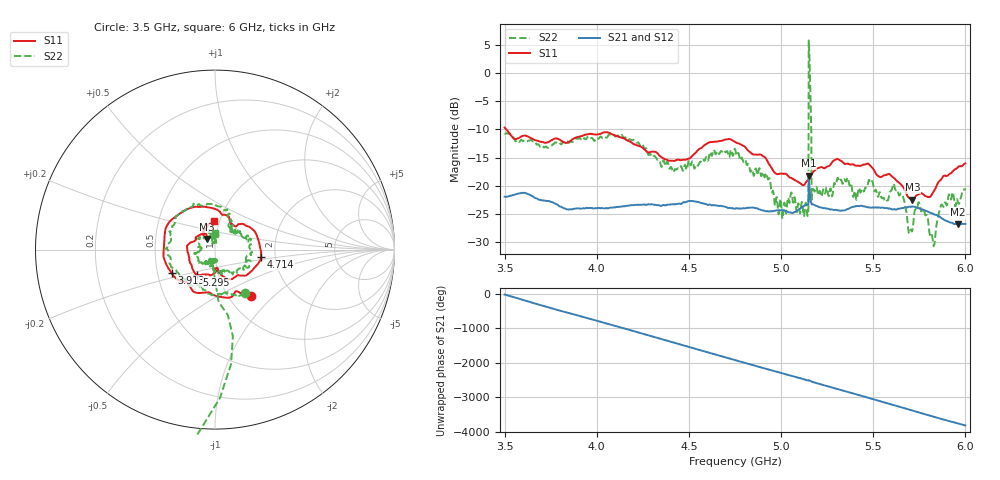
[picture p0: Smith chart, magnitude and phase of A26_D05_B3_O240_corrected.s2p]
! Created with skrf 1.9.0 (http://scikit-rf.org).
# Hz S RI R 50.0
!freq ReS11 ImS11 ReS21 ImS21 ReS12 ImS12 ReS22 ImS22
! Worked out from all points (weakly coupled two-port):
!   1601 points, 3.5 GHz to 6 GHz, reference 50 ohm
!   highest |S21| = -18.21 dB at 5.15 GHz (marker M1); lowest = -26.8 dB at 5.958 GHz (marker M2)
!   lowest |S11| = -22.4 dB at 5.713 GHz (marker M3), VSWR 1.16, Z = 45.3 + j5.45 ohm
!   |S11| at or under -10 dB: 3.51 GHz to end of sweep
!   |S22| runs from -30.7 to 5.8 dB; largest |S21 - S12| = 0.00089
!   S11 on the Smith chart (normalised r, x): 3.5 GHz: 1.26, -0.74; 3.913 GHz: 0.59, -0.17; 4.714 GHz: 1.68, -0.15; 5.295 GHz: 0.79, -0.23; 6 GHz: 0.94, +0.30
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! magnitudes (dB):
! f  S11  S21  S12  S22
! 3.5 GHz  -9.7  -21.9  -21.9  -10.7
! 3.913 GHz  -11.2  -24.0  -24.0  -11.7
! 3.917 GHz  -11.2  -24.0  -24.0  -11.9
! 4.334 GHz  -14.4  -23.4  -23.4  -15.4
! 4.714 GHz  -11.7  -23.9  -23.9  -14.6
! 4.75 GHz  -12.2  -24.0  -24.0  -13.5
! 4.928 GHz  -15.8  -24.5  -24.5  -18.8
! 4.997 GHz  -17.8  -24.4  -24.3  -22.3
! 5.134 GHz  -19.4  -23.4  -23.3  -23.0
! 5.15 GHz  -18.8  -18.2  -18.2  5.8
! 5.162 GHz  -18.1  -23.0  -22.9  -8.6
! 5.167 GHz  -17.8  -23.3  -23.2  -22.0
! 5.178 GHz  -17.4  -23.4  -23.3  -20.8
! 5.295 GHz  -15.3  -24.3  -24.2  -19.8
! 5.584 GHz  -17.9  -24.0  -24.0  -22.0
! 5.656 GHz  -20.0  -23.9  -23.9  -21.5
! 5.713 GHz  -22.4  -23.7  -23.6  -27.9
! 5.755 GHz  -21.4  -24.1  -24.0  -23.7
! 5.823 GHz  -21.2  -24.9  -24.9  -29.7
! 5.867 GHz  -18.9  -25.6  -25.6  -23.5
! 5.958 GHz  -16.7  -26.8  -26.8  -22.7
! 6 GHz  -16.0  -26.8  -26.7  -20.4
